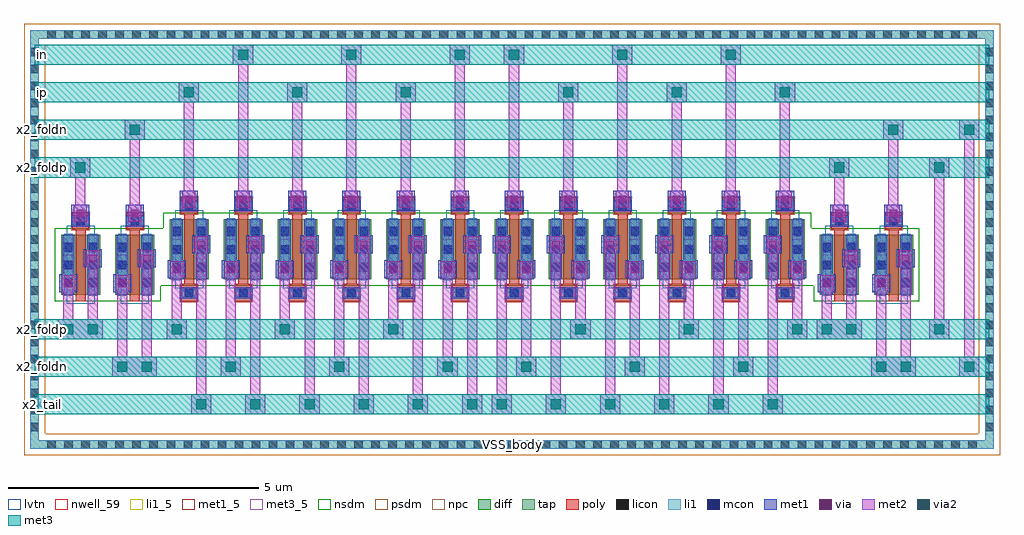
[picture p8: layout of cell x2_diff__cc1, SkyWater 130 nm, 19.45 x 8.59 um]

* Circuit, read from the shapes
.subckt x2_diff__cc1 VSS_body in ip x2_foldn x2_foldp x2_tail
XM1 x2_foldp x2_foldp x2_foldp VSS_body sky130_fd_pr__nfet_01v8_lvt w=1.2 l=0.2 m=2
XM2 x2_foldn x2_foldn x2_foldn VSS_body sky130_fd_pr__nfet_01v8_lvt w=1.2 l=0.2 m=2
XM3 x2_tail ip x2_foldp VSS_body sky130_fd_pr__nfet_01v8_lvt w=1.2 l=0.2 m=6
XM4 x2_tail in x2_foldn VSS_body sky130_fd_pr__nfet_01v8_lvt w=1.2 l=0.2 m=6
.ends

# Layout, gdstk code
from math import pi, radians
import gdstk
lib = gdstk.Library(unit=1e-6, precision=1e-09)
def R(c, l, rs):  # rectangles x0, y0, x1, y1
    for r in rs: c.add(gdstk.rectangle(r[:2], r[2:], *l))
def A(c, l, x, y, w, h, nx, ny, dx, dy):  # array of equal rectangles
    R(c, l, [(x+i*dx, y+j*dy, x+i*dx+w, y+j*dy+h) for i in range(nx) for j in range(ny)])
nwell_59 = (64, 59)
diff = (65, 20)
tap = (65, 44)
poly = (66, 20)
licon = (66, 44)
li1_5 = (67, 5)
li1 = (67, 20)
mcon = (67, 44)
met1_5 = (68, 5)
met1 = (68, 20)
via = (68, 44)
met2 = (69, 20)
via2 = (69, 44)
met3_5 = (70, 5)
met3 = (70, 20)
nsdm = (93, 44)
psdm = (94, 20)
npc = (95, 20)
lvtn = (125, 44)

sky130_fd_pr__nfet_01v8_ = lib.new_cell('sky130_fd_pr__nfet_01v8_lvt_CWMMG4')
R(sky130_fd_pr__nfet_01v8_, diff, [(-0.39,-0.755,0.39,0.445)])
R(sky130_fd_pr__nfet_01v8_, poly, [(-0.1,-0.885,0.1,0.555), (-0.165,0.555,0.165,0.885)])
A(sky130_fd_pr__nfet_01v8_, licon, -0.33, -0.58, 0.17, 0.17, 1, 3, 0, 0.34)
A(sky130_fd_pr__nfet_01v8_, licon, 0.16, -0.58, 0.17, 0.17, 1, 3, 0, 0.34)
R(sky130_fd_pr__nfet_01v8_, licon, [(-0.085,0.635,0.085,0.805)])
R(sky130_fd_pr__nfet_01v8_, li1, [(-0.33,-0.775,-0.16,0.465), (0.16,-0.775,0.33,0.465), (-0.165,0.635,0.165,0.805)])
A(sky130_fd_pr__nfet_01v8_, mcon, -0.33, -0.6, 0.17, 0.17, 1, 3, 0, 0.36)
A(sky130_fd_pr__nfet_01v8_, mcon, 0.16, -0.6, 0.17, 0.17, 1, 3, 0, 0.36)
R(sky130_fd_pr__nfet_01v8_, mcon, [(-0.085,0.635,0.085,0.805)])
R(sky130_fd_pr__nfet_01v8_, met1, [(-0.36,-0.755,-0.13,0.445), (0.13,-0.755,0.36,0.445), (-0.145,0.605,0.145,0.835)])
R(sky130_fd_pr__nfet_01v8_, nsdm, [(-0.515,-0.88,0.515,0.57)])
R(sky130_fd_pr__nfet_01v8_, npc, [(-0.185,0.535,0.185,0.905)])
R(sky130_fd_pr__nfet_01v8_, lvtn, [(-0.28,-0.935,0.28,0.625)])
sky130_fd_pr__nfet_01v8_.add(gdstk.Label('D', (-0.245,-0.155), layer=67, texttype=5))
sky130_fd_pr__nfet_01v8_.add(gdstk.Label('S', (0.245,-0.155), layer=67, texttype=5))
sky130_fd_pr__nfet_01v8_.add(gdstk.Label('G', (0,0.72), layer=67, texttype=5))

nfet_01v8_lvt_w1p2_l0p2_ = lib.new_cell('nfet_01v8_lvt_W1p2_L0p2_m2__nf1_gtop_sdfull_ng')
R(nfet_01v8_lvt_w1p2_l0p2_, nwell_59, [(0.05,0.68,0.15,0.78)])
R(nfet_01v8_lvt_w1p2_l0p2_, met1_5, [(0.03,0.73,0.26,0.93), (0.52,0.73,0.75,0.93), (0.205,1.49,0.575,1.72)])
R(nfet_01v8_lvt_w1p2_l0p2_, met1, [(0.03,0.73,0.26,0.93), (0.52,0.73,0.75,0.93), (0.205,1.49,0.575,1.72)])
nfet_01v8_lvt_w1p2_l0p2_.add(gdstk.Reference(sky130_fd_pr__nfet_01v8_, (0.39,0.885)))
nfet_01v8_lvt_w1p2_l0p2_.add(gdstk.Label('D', (0.145,0.83), layer=68, texttype=5))
nfet_01v8_lvt_w1p2_l0p2_.add(gdstk.Label('S', (0.635,0.83), layer=68, texttype=5))
nfet_01v8_lvt_w1p2_l0p2_.add(gdstk.Label('G', (0.39,1.605), layer=68, texttype=5))
nfet_01v8_lvt_w1p2_l0p2_.add(gdstk.Label('B', (0.1,0.73), layer=64, texttype=59))

c_sky130_fd_pr__nfet_01v8_ = lib.new_cell('sky130_fd_pr__nfet_01v8_lvt_A2K2V3')
R(c_sky130_fd_pr__nfet_01v8_, diff, [(-0.39,-0.6,0.39,0.6)])
R(c_sky130_fd_pr__nfet_01v8_, poly, [(-0.165,-1.04,0.165,-0.71), (-0.1,-0.71,0.1,0.71), (-0.165,0.71,0.165,1.04)])
A(c_sky130_fd_pr__nfet_01v8_, licon, -0.33, -0.425, 0.17, 0.17, 1, 3, 0, 0.34)
A(c_sky130_fd_pr__nfet_01v8_, licon, 0.16, -0.425, 0.17, 0.17, 1, 3, 0, 0.34)
R(c_sky130_fd_pr__nfet_01v8_, licon, [(-0.085,-0.96,0.085,-0.79), (-0.085,0.79,0.085,0.96)])
R(c_sky130_fd_pr__nfet_01v8_, li1, [(-0.165,-0.96,0.165,-0.79), (-0.33,-0.62,-0.16,0.62), (0.16,-0.62,0.33,0.62), (-0.165,0.79,0.165,0.96)])
A(c_sky130_fd_pr__nfet_01v8_, mcon, -0.33, -0.445, 0.17, 0.17, 1, 3, 0, 0.36)
A(c_sky130_fd_pr__nfet_01v8_, mcon, 0.16, -0.445, 0.17, 0.17, 1, 3, 0, 0.36)
R(c_sky130_fd_pr__nfet_01v8_, mcon, [(-0.085,-0.96,0.085,-0.79), (-0.085,0.79,0.085,0.96)])
R(c_sky130_fd_pr__nfet_01v8_, met1, [(-0.145,-0.99,0.145,-0.76), (-0.36,-0.6,-0.13,0.6), (0.13,-0.6,0.36,0.6), (-0.145,0.76,0.145,0.99)])
R(c_sky130_fd_pr__nfet_01v8_, nsdm, [(-0.515,-0.725,0.515,0.725)])
R(c_sky130_fd_pr__nfet_01v8_, npc, [(-0.185,-1.06,0.185,-0.69), (-0.185,0.69,0.185,1.06)])
R(c_sky130_fd_pr__nfet_01v8_, lvtn, [(-0.28,-0.78,0.28,0.78)])
c_sky130_fd_pr__nfet_01v8_.add(gdstk.Label('D', (-0.245,0), layer=67, texttype=5))
c_sky130_fd_pr__nfet_01v8_.add(gdstk.Label('S', (0.245,0), layer=67, texttype=5))
c_sky130_fd_pr__nfet_01v8_.add(gdstk.Label('G', (0,0.875), layer=67, texttype=5))

c_nfet_01v8_lvt_w1p2_l0p2_ = lib.new_cell('nfet_01v8_lvt_W1p2_L0p2_m6__nf1_gboth_sdfull_ng')
R(c_nfet_01v8_lvt_w1p2_l0p2_, nwell_59, [(0.05,0.99,0.15,1.09)])
R(c_nfet_01v8_lvt_w1p2_l0p2_, met1_5, [(0.03,1.04,0.26,1.24), (0.52,1.04,0.75,1.24), (0.205,1.8,0.575,2.03)])
R(c_nfet_01v8_lvt_w1p2_l0p2_, met1, [(0.205,0.05,0.575,0.28), (0.03,1.04,0.26,1.24), (0.52,1.04,0.75,1.24), (0.205,1.8,0.575,2.03)])
c_nfet_01v8_lvt_w1p2_l0p2_.add(gdstk.Reference(c_sky130_fd_pr__nfet_01v8_, (0.39,1.04)))
c_nfet_01v8_lvt_w1p2_l0p2_.add(gdstk.Label('D', (0.145,1.14), layer=68, texttype=5))
c_nfet_01v8_lvt_w1p2_l0p2_.add(gdstk.Label('S', (0.635,1.14), layer=68, texttype=5))
c_nfet_01v8_lvt_w1p2_l0p2_.add(gdstk.Label('G', (0.39,1.915), layer=68, texttype=5))
c_nfet_01v8_lvt_w1p2_l0p2_.add(gdstk.Label('B', (0.1,1.04), layer=64, texttype=59))

x2_diff__cc1 = lib.new_cell('x2_diff__cc1')
R(x2_diff__cc1, tap, [(-0.485,-2.935,18.715,-2.765), (-0.485,-2.765,-0.315,5.235), (18.545,-2.765,18.715,5.235), (-0.485,5.235,18.715,5.405)])
A(x2_diff__cc1, licon, -0.15, -2.935, 0.17, 0.17, 55, 2, 0.34, 8.17)
A(x2_diff__cc1, licon, -0.485, -2.59, 0.17, 0.17, 1, 23, 0, 0.34)
A(x2_diff__cc1, licon, 18.545, -2.59, 0.17, 0.17, 1, 23, 0, 0.34)
R(x2_diff__cc1, li1_5, [(9.065,-2.9,9.165,-2.8)])
R(x2_diff__cc1, li1, [(-0.485,-2.935,18.715,-2.765), (-0.485,-2.765,-0.315,5.235), (18.545,-2.765,18.715,5.235), (-0.485,5.235,18.715,5.405)])
A(x2_diff__cc1, met1, 2.25, 0.46, 0.36, 0.36, 6, 1, 1.08, 0)
A(x2_diff__cc1, met1, 9.22, 0.46, 0.36, 0.36, 6, 1, 1.08, 0)
A(x2_diff__cc1, met1, 2.74, 0.96, 0.36, 0.36, 6, 1, 1.08, 0)
A(x2_diff__cc1, met1, 8.73, 0.96, 0.36, 0.36, 6, 1, 1.08, 0)
A(x2_diff__cc1, met1, 2.495, 1.85, 0.36, 0.36, 12, 1, 1.08, 0)
R(x2_diff__cc1, met1, [(0.09,0.18,0.45,0.54), (1.17,0.18,1.53,0.54), (15.21,0.18,15.57,0.54), (16.29,0.18,16.65,0.54), (0.58,0.68,0.94,1.04), (1.66,0.68,2.02,1.04), (15.7,0.68,16.06,1.04), (16.78,0.68,17.14,1.04), (0.335,1.57,0.695,1.93), (1.415,1.57,1.775,1.93), (15.455,1.57,15.815,1.93), (16.535,1.57,16.895,1.93)])
A(x2_diff__cc1, via, 2.355, 0.565, 0.15, 0.15, 6, 1, 1.08, 0)
A(x2_diff__cc1, via, 9.325, 0.565, 0.15, 0.15, 6, 1, 1.08, 0)
A(x2_diff__cc1, via, 2.845, 1.065, 0.15, 0.15, 6, 1, 1.08, 0)
A(x2_diff__cc1, via, 8.835, 1.065, 0.15, 0.15, 6, 1, 1.08, 0)
A(x2_diff__cc1, via, 2.6, 1.955, 0.15, 0.15, 12, 1, 1.08, 0)
R(x2_diff__cc1, via, [(0.195,0.285,0.345,0.435), (1.275,0.285,1.425,0.435), (15.315,0.285,15.465,0.435), (16.395,0.285,16.545,0.435), (0.685,0.785,0.835,0.935), (1.765,0.785,1.915,0.935), (15.805,0.785,15.955,0.935), (16.885,0.785,17.035,0.935), (0.44,1.675,0.59,1.825), (1.52,1.675,1.67,1.825), (15.56,1.675,15.71,1.825), (16.64,1.675,16.79,1.825)])
A(x2_diff__cc1, met2, 2.72, -2.25, 0.4, 0.4, 6, 1, 1.08, 0)
A(x2_diff__cc1, met2, 8.71, -2.25, 0.4, 0.4, 6, 1, 1.08, 0)
A(x2_diff__cc1, met2, 2.82, -1.85, 0.2, 2.83, 6, 1, 1.08, 0)
A(x2_diff__cc1, met2, 8.81, -1.85, 0.2, 2.83, 6, 1, 1.08, 0)
A(x2_diff__cc1, met2, 3.31, -1.5, 0.4, 0.4, 3, 1, 2.16, 0)
A(x2_diff__cc1, met2, 9.2, -1.5, 0.4, 0.4, 3, 1, 2.16, 0)
A(x2_diff__cc1, met2, 3.41, -1.1, 0.2, 1.58, 3, 1, 2.16, 0)
A(x2_diff__cc1, met2, 9.3, -1.1, 0.2, 1.58, 3, 1, 2.16, 0)
A(x2_diff__cc1, met2, 2.23, -0.75, 0.4, 0.4, 3, 1, 2.16, 0)
A(x2_diff__cc1, met2, 10.28, -0.75, 0.4, 0.4, 3, 1, 2.16, 0)
A(x2_diff__cc1, met2, 2.33, -0.35, 0.2, 0.83, 3, 1, 2.16, 0)
A(x2_diff__cc1, met2, 10.38, -0.35, 0.2, 0.83, 3, 1, 2.16, 0)
A(x2_diff__cc1, met2, 2.3, 0.48, 0.26, 0.32, 6, 1, 1.08, 0)
A(x2_diff__cc1, met2, 9.27, 0.48, 0.26, 0.32, 6, 1, 1.08, 0)
A(x2_diff__cc1, met2, 2.79, 0.98, 0.26, 0.32, 6, 1, 1.08, 0)
A(x2_diff__cc1, met2, 8.78, 0.98, 0.26, 0.32, 6, 1, 1.08, 0)
A(x2_diff__cc1, met2, 2.545, 1.87, 0.26, 0.32, 12, 1, 1.08, 0)
A(x2_diff__cc1, met2, 2.575, 2.19, 0.2, 1.78, 3, 1, 2.16, 0)
A(x2_diff__cc1, met2, 3.655, 2.19, 0.2, 2.53, 3, 1, 2.16, 0)
A(x2_diff__cc1, met2, 9.055, 2.19, 0.2, 2.53, 3, 1, 2.16, 0)
A(x2_diff__cc1, met2, 10.135, 2.19, 0.2, 1.78, 3, 1, 2.16, 0)
A(x2_diff__cc1, met2, 2.475, 3.97, 0.4, 0.4, 3, 1, 2.16, 0)
A(x2_diff__cc1, met2, 10.035, 3.97, 0.4, 0.4, 3, 1, 2.16, 0)
A(x2_diff__cc1, met2, 3.555, 4.72, 0.4, 0.4, 3, 1, 2.16, 0)
A(x2_diff__cc1, met2, 8.955, 4.72, 0.4, 0.4, 3, 1, 2.16, 0)
R(x2_diff__cc1, met2, [(1.15,-1.5,2.04,-1.1), (16.27,-1.5,17.16,-1.1), (18.03,-1.5,18.43,-1.1), (1.25,-1.1,1.45,0.2), (1.74,-1.1,1.94,0.7), (16.37,-1.1,16.57,0.2), (16.86,-1.1,17.06,0.7), (18.13,-1.1,18.33,3.22), (0.07,-0.75,0.96,-0.35), (15.19,-0.75,16.08,-0.35), (17.43,-0.75,17.83,-0.35), (0.17,-0.35,0.37,0.2), (0.66,-0.35,0.86,0.7), (15.29,-0.35,15.49,0.2), (15.78,-0.35,15.98,0.7), (17.53,-0.35,17.73,2.47), (0.14,0.2,0.4,0.52), (1.22,0.2,1.48,0.52), (15.26,0.2,15.52,0.52), (16.34,0.2,16.6,0.52), (0.63,0.7,0.89,1.02), (1.71,0.7,1.97,1.02), (15.75,0.7,16.01,1.02), (16.83,0.7,17.09,1.02), (0.385,1.59,0.645,1.91), (1.465,1.59,1.725,1.91), (15.505,1.59,15.765,1.91), (16.585,1.59,16.845,1.91), (0.415,1.91,0.615,2.47), (1.495,1.91,1.695,3.22), (15.535,1.91,15.735,2.47), (16.615,1.91,16.815,3.22), (0.315,2.47,0.715,2.87), (15.435,2.47,15.835,2.87), (17.43,2.47,17.83,2.87), (1.395,3.22,1.795,3.62), (16.515,3.22,16.915,3.62), (18.03,3.22,18.43,3.62)])
A(x2_diff__cc1, via2, 2.82, -2.15, 0.2, 0.2, 6, 1, 1.08, 0)
A(x2_diff__cc1, via2, 8.81, -2.15, 0.2, 0.2, 6, 1, 1.08, 0)
A(x2_diff__cc1, via2, 3.41, -1.4, 0.2, 0.2, 3, 1, 2.16, 0)
A(x2_diff__cc1, via2, 9.3, -1.4, 0.2, 0.2, 3, 1, 2.16, 0)
A(x2_diff__cc1, via2, 2.33, -0.65, 0.2, 0.2, 3, 1, 2.16, 0)
A(x2_diff__cc1, via2, 10.38, -0.65, 0.2, 0.2, 3, 1, 2.16, 0)
A(x2_diff__cc1, via2, 2.575, 4.07, 0.2, 0.2, 3, 1, 2.16, 0)
A(x2_diff__cc1, via2, 10.135, 4.07, 0.2, 0.2, 3, 1, 2.16, 0)
A(x2_diff__cc1, via2, 3.655, 4.82, 0.2, 0.2, 3, 1, 2.16, 0)
A(x2_diff__cc1, via2, 9.055, 4.82, 0.2, 0.2, 3, 1, 2.16, 0)
R(x2_diff__cc1, via2, [(1.25,-1.4,1.45,-1.2), (1.74,-1.4,1.94,-1.2), (16.37,-1.4,16.57,-1.2), (16.86,-1.4,17.06,-1.2), (18.13,-1.4,18.33,-1.2), (0.17,-0.65,0.37,-0.45), (0.66,-0.65,0.86,-0.45), (15.29,-0.65,15.49,-0.45), (15.78,-0.65,15.98,-0.45), (17.53,-0.65,17.73,-0.45), (0.415,2.57,0.615,2.77), (15.535,2.57,15.735,2.77), (17.53,2.57,17.73,2.77), (1.495,3.32,1.695,3.52), (16.615,3.32,16.815,3.52), (18.13,3.32,18.33,3.52)])
A(x2_diff__cc1, met3_5, -0.3, -2.1, 0.1, 0.1, 1, 3, 0, 0.75)
A(x2_diff__cc1, met3_5, -0.3, 2.62, 0.1, 0.1, 1, 4, 0, 0.75)
A(x2_diff__cc1, met3, -0.4, -2.25, 19.03, 0.4, 1, 3, 0, 0.75)
A(x2_diff__cc1, met3, -0.4, 2.47, 19.03, 0.4, 1, 4, 0, 0.75)
A(x2_diff__cc1, nsdm, 3.195, 0.315, 0.05, 1.45, 11, 1, 1.08, 0)
R(x2_diff__cc1, nsdm, [(1.035,0.005,1.085,1.455), (16.155,0.005,16.205,1.455), (2.115,0.315,2.165,1.455), (15.075,0.315,15.125,1.455)])
R(x2_diff__cc1, psdm, [(-0.61,-3.06,18.84,-2.64), (-0.61,-2.64,-0.19,5.11), (18.42,-2.64,18.84,5.11), (-0.61,5.11,18.84,5.53)])
x2_diff__cc1.add(gdstk.Reference(nfet_01v8_lvt_w1p2_l0p2_, (0.13,0)))
x2_diff__cc1.add(gdstk.Reference(nfet_01v8_lvt_w1p2_l0p2_, (1.21,0)))
x2_diff__cc1.add(gdstk.Reference(c_nfet_01v8_lvt_w1p2_l0p2_, (2.29,0)))
x2_diff__cc1.add(gdstk.Reference(c_nfet_01v8_lvt_w1p2_l0p2_, (3.37,0)))
x2_diff__cc1.add(gdstk.Reference(c_nfet_01v8_lvt_w1p2_l0p2_, (4.45,0)))
x2_diff__cc1.add(gdstk.Reference(c_nfet_01v8_lvt_w1p2_l0p2_, (5.53,0)))
x2_diff__cc1.add(gdstk.Reference(c_nfet_01v8_lvt_w1p2_l0p2_, (6.61,0)))
x2_diff__cc1.add(gdstk.Reference(c_nfet_01v8_lvt_w1p2_l0p2_, (7.69,0)))
x2_diff__cc1.add(gdstk.Reference(c_nfet_01v8_lvt_w1p2_l0p2_, (9.55,0), rotation=pi, x_reflection=True))
x2_diff__cc1.add(gdstk.Reference(c_nfet_01v8_lvt_w1p2_l0p2_, (10.63,0), rotation=pi, x_reflection=True))
x2_diff__cc1.add(gdstk.Reference(c_nfet_01v8_lvt_w1p2_l0p2_, (11.71,0), rotation=pi, x_reflection=True))
x2_diff__cc1.add(gdstk.Reference(c_nfet_01v8_lvt_w1p2_l0p2_, (12.79,0), rotation=pi, x_reflection=True))
x2_diff__cc1.add(gdstk.Reference(c_nfet_01v8_lvt_w1p2_l0p2_, (13.87,0), rotation=pi, x_reflection=True))
x2_diff__cc1.add(gdstk.Reference(c_nfet_01v8_lvt_w1p2_l0p2_, (14.95,0), rotation=pi, x_reflection=True))
x2_diff__cc1.add(gdstk.Reference(nfet_01v8_lvt_w1p2_l0p2_, (15.25,0)))
x2_diff__cc1.add(gdstk.Reference(nfet_01v8_lvt_w1p2_l0p2_, (16.33,0)))
x2_diff__cc1.add(gdstk.Label('x2_foldp', (-0.25,2.67), layer=70, texttype=5))
x2_diff__cc1.add(gdstk.Label('x2_foldn', (-0.25,3.42), layer=70, texttype=5))
x2_diff__cc1.add(gdstk.Label('ip', (-0.25,4.17), layer=70, texttype=5))
x2_diff__cc1.add(gdstk.Label('in', (-0.25,4.92), layer=70, texttype=5))
x2_diff__cc1.add(gdstk.Label('x2_foldp', (-0.25,-0.55), layer=70, texttype=5))
x2_diff__cc1.add(gdstk.Label('x2_foldn', (-0.25,-1.3), layer=70, texttype=5))
x2_diff__cc1.add(gdstk.Label('x2_tail', (-0.25,-2.05), layer=70, texttype=5))
x2_diff__cc1.add(gdstk.Label('VSS_body', (9.115,-2.85), layer=67, texttype=5))

lib.write_gds('x2_diff__cc1.gds')
